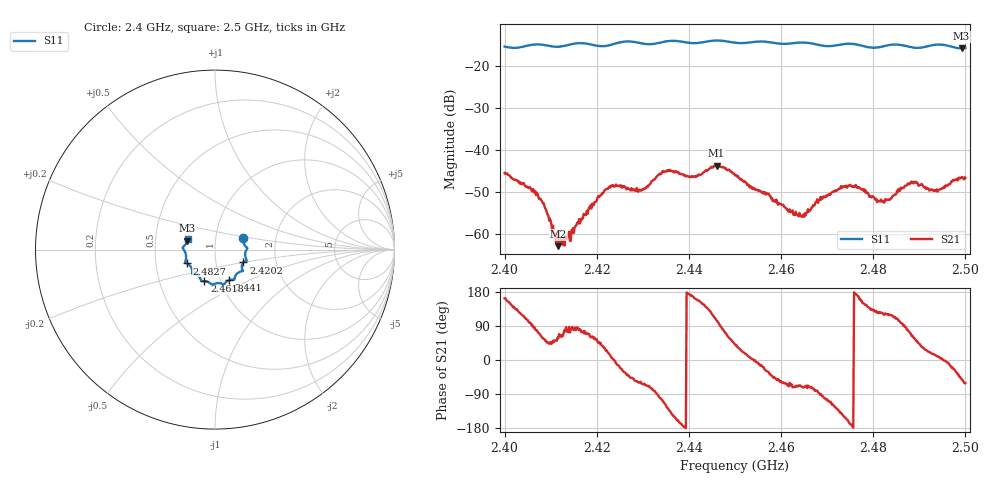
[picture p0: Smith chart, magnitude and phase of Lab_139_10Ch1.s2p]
# Hz S RI R 50
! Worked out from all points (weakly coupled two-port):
!   601 points, 2.4 GHz to 2.5 GHz, reference 50 ohm
!   highest |S21| = -43.64 dB at 2.446 GHz (marker M1); lowest = -62.8 dB at 2.4117 GHz (marker M2)
!   lowest |S11| = -15.8 dB at 2.4992 GHz (marker M3), VSWR 1.39, Z = 36.4 + j3.67 ohm
!   |S11| at or under -10 dB: start of sweep to end of sweep
!   S12 and S22 are empty: the file has one direction only
!   S11 on the Smith chart (normalised r, x): 2.4 GHz: 1.36, +0.18; 2.4202 GHz: 1.36, -0.20; 2.441 GHz: 1.10, -0.39; 2.4618 GHz: 0.84, -0.30; 2.4827 GHz: 0.72, -0.12; 2.5 GHz: 0.73, +0.09
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2.4e9  0.1585 0.0631  -0.00514 0.00158  0 0  0 0
2.406667e9  0.1803 0.00942  0.000578 0.00319  0 0  0 0
2.411667e9  0.1681 -0.0239  0.000392 0.00061  0 0  0 0
2.414667e9  0.1745 -0.0539  4.76e-05 0.00105  0 0  0 0
2.416667e9  0.1773 -0.061  0.000436 0.00148  0 0  0 0
2.420167e9  0.1586 -0.0714  0.0018 0.00204  0 0  0 0
2.423167e9  0.1496 -0.0992  0.0038 0.000411  0 0  0 0
2.43e9  0.1364 -0.1247  0.00154 -0.00311  0 0  0 0
2.433333e9  0.1115 -0.1509  -0.000313 -0.00506  0 0  0 0
2.441e9  0.0787 -0.1699  -0.00471 0.00116  0 0  0 0
2.446e9  0.0498 -0.1951  -0.00163 0.00638  0 0  0 0
2.45e9  0.0284 -0.1873  0.00379 0.00332  0 0  0 0
2.461833e9  -0.0592 -0.1755  0.000993 -0.00172  0 0  0 0
2.464833e9  -0.076 -0.1746  0.00052 -0.00164  0 0  0 0
2.466667e9  -0.0789 -0.1683  0.000631 -0.00201  0 0  0 0
2.4745e9  -0.1266 -0.1342  -0.00351 -0.00138  0 0  0 0
2.482667e9  -0.1563 -0.0773  -0.00144 0.00221  0 0  0 0
2.483333e9  -0.1605 -0.0751  -0.00123 0.00228  0 0  0 0
2.488e9  -0.1613 -0.0495  0.00127 0.00389  0 0  0 0
2.493667e9  -0.1796 0.00769  0.00321 0.000607  0 0  0 0
2.499167e9  -0.1548 0.0491  0.00306 -0.00371  0 0  0 0
2.5e9  -0.1521 0.0609  0.00226 -0.00411  0 0  0 0
